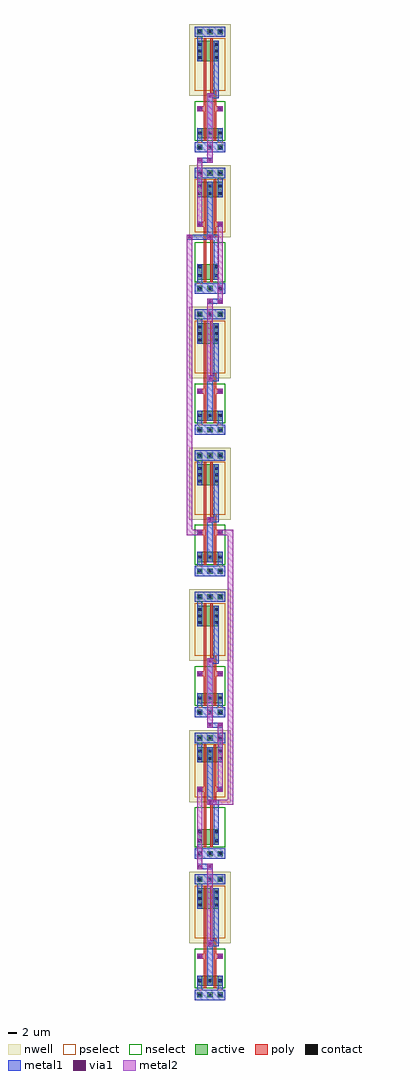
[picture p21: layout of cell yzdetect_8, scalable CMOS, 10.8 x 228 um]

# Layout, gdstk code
import gdstk
lib = gdstk.Library(unit=1e-6, precision=1e-09)
def R(c, l, rs):  # rectangles x0, y0, x1, y1
    for r in rs: c.add(gdstk.rectangle(r[:2], r[2:], *l))
def A(c, l, x, y, w, h, nx, ny, dx, dy):  # array of equal rectangles
    R(c, l, [(x+i*dx, y+j*dy, x+i*dx+w, y+j*dy+h) for i in range(nx) for j in range(ny)])
def P(c, l, *ps):  # polygons
    for p in ps: c.add(gdstk.Polygon(p, *l))
contact = (25, 0)
nwell = (42, 0)
active = (43, 0)
pselect = (44, 0)
nselect = (45, 0)
poly = (46, 0)
metal1 = (49, 0)
via1 = (50, 0)
metal2 = (51, 0)

nand2_1x = lib.new_cell('nand2_1x')
A(nand2_1x, contact, 0.9, -0.3, 0.6, 0.6, 3, 2, 2.4, 22.2)
A(nand2_1x, contact, 0.9, 23.7, 0.6, 0.6, 3, 2, 2.4, 3)
R(nand2_1x, contact, [(0.9,2.7,1.5,3.3), (4.8,2.7,5.4,3.3), (0.9,4.8,1.5,5.4), (4.8,4.8,5.4,5.4), (0.9,14.7,1.5,15.3), (5.7,14.7,6.3,15.3)])
R(nand2_1x, nwell, [(-1.2,12,8.4,28.8)])
A(nand2_1x, active, 0.6, -0.6, 1.2, 1.2, 3, 2, 2.4, 27)
R(nand2_1x, active, [(0.6,2.1,5.7,5.7), (0.6,21.3,6.6,24.9)])
R(nand2_1x, pselect, [(0,-1.2,7.2,1.2), (0,13.2,7.2,25.5)])
R(nand2_1x, nselect, [(0,1.5,7.2,10.8), (0,25.8,7.2,28.2)])
P(nand2_1x, poly, [(2.7,25.5),(2.1,25.5),(2.1,15.6),(0.6,15.6),(0.6,14.4),(2.1,14.4),(2.1,1.5),(2.7,1.5)],
  [(6.6,15.6),(5.1,15.6),(5.1,25.5),(4.5,25.5),(4.5,12.6),(3.6,12.6),(3.6,1.5),(4.2,1.5),(4.2,12),(5.1,12),(5.1,14.4),(6.6,14.4)])
R(nand2_1x, metal1, [(0,-1.2,7.2,1.2), (0.6,14.4,1.8,15.6), (5.4,14.4,6.6,15.6), (0,25.8,7.2,28.2)])
P(nand2_1x, metal1, [(5.7,12.6),(4.2,12.6),(4.2,24.9),(3,24.9),(3,11.4),(4.5,11.4),(4.5,2.1),(5.7,2.1)],
  [(7.2,28.2),(0,28.2),(0,25.8),(0.6,25.8),(0.6,21.3),(1.8,21.3),(1.8,25.8),(5.4,25.8),(5.4,21.3),(6.6,21.3),(6.6,25.8),(7.2,25.8)],
  [(7.2,1.2),(1.8,1.2),(1.8,5.7),(0.6,5.7),(0.6,1.2),(0,1.2),(0,-1.2),(7.2,-1.2)])
R(nand2_1x, via1, [(3.3,11.7,3.9,12.3), (0.9,14.7,1.5,15.3), (5.7,14.7,6.3,15.3)])
R(nand2_1x, metal2, [(3,11.4,4.2,12.6), (3,11.4,4.2,12.6), (0.6,14.4,1.8,15.6), (0.6,14.4,1.8,15.6), (5.4,14.4,6.6,15.6), (5.4,14.4,6.6,15.6)])

nor2_1x = lib.new_cell('nor2_1x')
A(nor2_1x, contact, 0.9, -0.3, 0.6, 0.6, 3, 2, 2.4, 3.3)
A(nor2_1x, contact, 0.9, 20.7, 0.6, 0.6, 1, 3, 0, 1.5)
A(nor2_1x, contact, 4.8, 20.7, 0.6, 0.6, 1, 3, 0, 1.5)
A(nor2_1x, contact, 0.9, 26.7, 0.6, 0.6, 3, 1, 2.4, 0)
R(nor2_1x, contact, [(0.9,8.7,1.5,9.3), (5.7,8.7,6.3,9.3)])
R(nor2_1x, nwell, [(-1.2,12,8.4,28.8)])
A(nor2_1x, active, 0.6, -0.6, 1.2, 1.2, 3, 2, 2.4, 27)
R(nor2_1x, active, [(0.6,2.1,6.6,4.5), (0.6,20.1,5.7,24.9)])
R(nor2_1x, pselect, [(0,-1.2,7.2,1.2), (0,13.2,7.2,25.5)])
R(nor2_1x, nselect, [(0,1.5,7.2,10.8), (0,25.8,7.2,28.2)])
R(nor2_1x, poly, [(2.1,1.5,2.7,25.5), (0.6,8.4,2.1,9.6), (5.1,8.4,6.6,9.6)])
P(nor2_1x, poly, [(5.1,13.2),(4.2,13.2),(4.2,25.5),(3.6,25.5),(3.6,12.6),(4.5,12.6),(4.5,1.5),(5.1,1.5)])
R(nor2_1x, metal1, [(0,-1.2,7.2,1.2), (0.6,8.4,1.8,9.6), (5.4,8.4,6.6,9.6), (0,25.8,7.2,28.2)])
P(nor2_1x, metal1, [(5.7,24.9),(4.5,24.9),(4.5,12.6),(3,12.6),(3,2.1),(4.2,2.1),(4.2,11.4),(5.7,11.4)],
  [(7.2,28.2),(0,28.2),(0,25.8),(0.6,25.8),(0.6,20.1),(1.8,20.1),(1.8,25.8),(7.2,25.8)],
  [(7.2,1.2),(6.6,1.2),(6.6,4.5),(5.4,4.5),(5.4,1.2),(1.8,1.2),(1.8,4.5),(0.6,4.5),(0.6,1.2),(0,1.2),(0,-1.2),(7.2,-1.2)])
R(nor2_1x, via1, [(0.9,8.7,1.5,9.3), (5.7,8.7,6.3,9.3), (3.3,11.7,3.9,12.3)])
R(nor2_1x, metal2, [(0.6,8.4,1.8,9.6), (5.4,8.4,6.6,9.6), (3,11.4,4.2,12.6)])

yzdetect_8 = lib.new_cell('yzdetect_8')
R(yzdetect_8, metal1, [(-0.6,-1.2,6.6,1.2), (-0.6,25.8,6.6,28.2), (0,29.4,3.6,30.6), (-0.6,31.8,6.6,34.2), (-0.6,58.8,6.6,61.2), (2.4,62.4,6,63.6), (-0.6,64.8,6.6,67.2), (-0.6,91.8,6.6,94.2), (-0.6,97.8,6.6,100.2), (-0.6,124.8,6.6,127.2), (-0.6,130.8,6.6,133.2), (-0.6,157.8,6.6,160.2), (2.4,161.4,6,162.6), (-0.6,163.8,6.6,166.2), (-2.4,176.4,3.6,177.6), (-0.6,190.8,6.6,193.2), (0,194.4,3.6,195.6), (-0.6,196.8,6.6,199.2), (-0.6,223.8,6.6,226.2)])
R(yzdetect_8, via1, [(0.3,29.7,0.9,30.3), (2.7,29.7,3.3,30.3), (2.7,62.7,3.3,63.3), (5.1,62.7,5.7,63.3), (2.7,161.7,3.3,162.3), (5.1,161.7,5.7,162.3), (-2.1,176.7,-1.5,177.3), (2.7,176.7,3.3,177.3), (0.3,194.7,0.9,195.3), (2.7,194.7,3.3,195.3)])
A(yzdetect_8, metal2, 0, 8.4, 1.2, 1.2, 1, 4, 0, 66)
A(yzdetect_8, metal2, 4.8, 8.4, 1.2, 1.2, 1, 4, 0, 66)
R(yzdetect_8, metal2, [(2.4,11.4,3.6,30.6), (0,29.4,1.2,48.6), (2.4,44.4,8.4,45.6), (7.2,44.4,8.4,108.6), (4.8,47.4,6,63.6), (2.4,62.4,3.6,78.6), (-2.4,107.4,-1.2,177.6), (-2.4,107.4,1.2,108.6), (4.8,107.4,8.4,108.6), (2.4,110.4,3.6,111.6), (2.4,143.4,3.6,162.6), (4.8,161.4,6,180.6), (2.4,176.4,3.6,177.6), (0,179.4,1.2,195.6), (2.4,194.4,3.6,210.6)])
yzdetect_8.add(gdstk.Reference(nand2_1x, (-0.6,33)))
yzdetect_8.add(gdstk.Reference(nand2_1x, (-0.6,165)))
yzdetect_8.add(gdstk.Reference(nor2_1x, (-0.6,0)))
yzdetect_8.add(gdstk.Reference(nor2_1x, (-0.6,66)))
yzdetect_8.add(gdstk.Reference(nor2_1x, (-0.6,99)))
yzdetect_8.add(gdstk.Reference(nor2_1x, (-0.6,132)))
yzdetect_8.add(gdstk.Reference(nor2_1x, (-0.6,198)))

lib.write_gds('yzdetect_8.gds')
